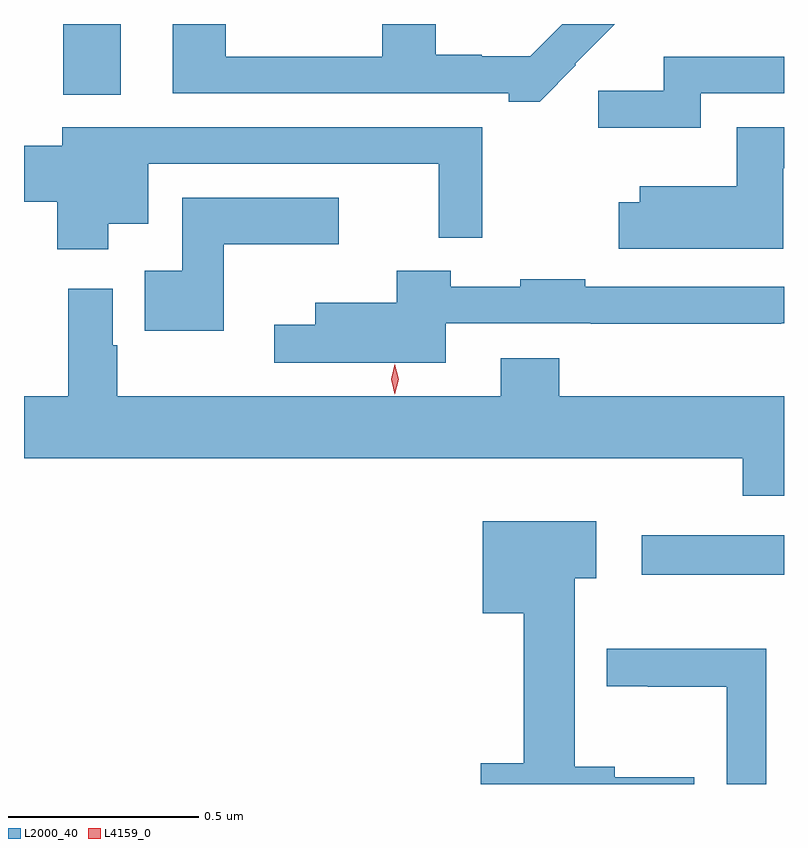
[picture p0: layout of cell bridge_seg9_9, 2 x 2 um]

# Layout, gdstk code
import gdstk
lib = gdstk.Library(unit=1e-6, precision=1e-09)
def R(c, l, rs):  # rectangles x0, y0, x1, y1
    for r in rs: c.add(gdstk.rectangle(r[:2], r[2:], *l))
def P(c, l, *ps):  # polygons
    for p in ps: c.add(gdstk.Polygon(p, *l))
L2000_40 = (2000, 40)
L4159_0 = (4159, 0)

bridge_seg9_9 = lib.new_cell('bridge_seg9_9')
R(bridge_seg9_9, L2000_40, [(1022.031,1240.07,1022.406,1240.174), (1020.509,1241.333,1020.661,1241.519), (1021.073,1241.518,1021.213,1241.519)])
P(bridge_seg9_9, L2000_40, [(1021.858,1241.411),(1021.856,1241.414),(1021.961,1241.519),(1021.823,1241.519),(1021.738,1241.434),(1021.61,1241.434),(1021.61,1241.438),(1021.489,1241.438),(1021.489,1241.519),(1021.349,1241.519),(1021.349,1241.433),(1020.937,1241.433),(1020.937,1241.519),(1020.797,1241.519),(1020.797,1241.337),(1021.682,1241.337),(1021.682,1241.315),(1021.763,1241.315)],
  [(1022.187,1241.337),(1022.406,1241.337),(1022.406,1241.433),(1022.09,1241.433),(1022.09,1241.343),(1021.917,1241.343),(1021.917,1241.246),(1022.187,1241.246)],
  [(1020.628,1240.994),(1020.733,1240.994),(1020.733,1241.151),(1021.498,1241.151),(1021.498,1240.956),(1021.612,1240.956),(1021.612,1241.247),(1020.506,1241.247),(1020.506,1241.198),(1020.406,1241.198),(1020.406,1241.051),(1020.494,1241.051),(1020.494,1240.926),(1020.628,1240.926)],
  [(1022.404,1241.139),(1022.406,1241.139),(1022.406,1241.247),(1022.282,1241.247),(1022.282,1241.092),(1022.027,1241.092),(1022.027,1241.05),(1021.971,1241.05),(1021.971,1240.928),(1022.404,1240.928)],
  [(1020.931,1240.94),(1021.234,1240.94),(1021.234,1241.062),(1020.822,1241.062),(1020.822,1240.87),(1020.724,1240.87),(1020.724,1240.712),(1020.931,1240.712)],
  [(1021.516,1240.731),(1021.897,1240.731),(1021.897,1240.73),(1022.399,1240.73),(1022.399,1240.731),(1022.406,1240.731),(1022.406,1240.827),(1021.883,1240.827),(1021.883,1240.847),(1021.712,1240.847),(1021.712,1240.827),(1021.529,1240.827),(1021.529,1240.87),(1021.387,1240.87),(1021.387,1240.786),(1021.172,1240.786),(1021.172,1240.727),(1021.065,1240.727),(1021.065,1240.628),(1021.516,1240.628)],
  [(1022.406,1240.54),(1021.814,1240.54),(1021.814,1240.639),(1021.661,1240.639),(1021.661,1240.54),(1020.652,1240.54),(1020.652,1240.673),(1020.639,1240.673),(1020.639,1240.822),(1020.523,1240.822),(1020.523,1240.54),(1020.406,1240.54),(1020.406,1240.376),(1022.297,1240.376),(1022.297,1240.277),(1022.406,1240.277)],
  [(1022.17,1239.537),(1021.96,1239.537),(1021.96,1239.565),(1021.855,1239.565),(1021.855,1240.061),(1021.912,1240.061),(1021.912,1240.21),(1021.613,1240.21),(1021.613,1239.968),(1021.721,1239.968),(1021.721,1239.573),(1021.608,1239.573),(1021.608,1239.519),(1022.17,1239.519)],
  [(1022.359,1239.875),(1021.94,1239.875),(1021.94,1239.776),(1022.047,1239.776),(1022.047,1239.775),(1022.255,1239.775),(1022.255,1239.519),(1022.359,1239.519)])
P(bridge_seg9_9, L4159_0, [(1021.382,1240.545),(1021.382,1240.545),(1021.372,1240.584),(1021.382,1240.623),(1021.382,1240.623),(1021.382,1240.623),(1021.392,1240.584),(1021.382,1240.545)])

lib.write_gds('bridge_seg9_9.gds')
